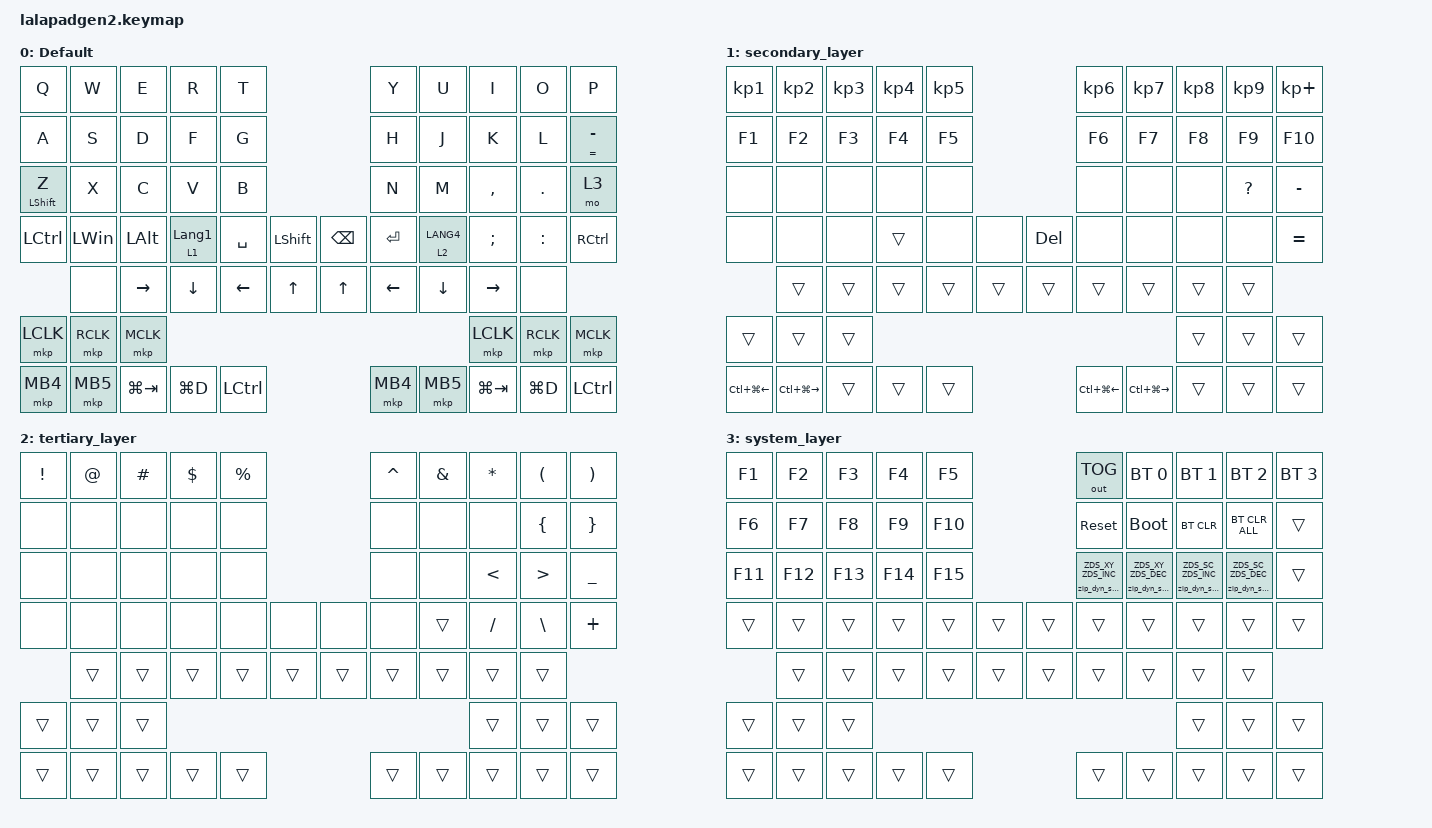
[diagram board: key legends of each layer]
#include <input/processors.dtsi>
#include <dt-bindings/zmk/zip_dynamic_scale.h>
#include <behaviors.dtsi>
#include <dt-bindings/zmk/bt.h>
#include <dt-bindings/zmk/keys.h>
#include <dt-bindings/zmk/outputs.h>
#include <dt-bindings/zmk/pointing.h>

#define DEFAULT_LAYER   0
#define SECONDARY_LAYER 1
#define TERTIARY_LAYER  2
#define SYSTEM_LAYER    3

&mt { quick-tap-ms = <200>; };

&lt { quick-tap-ms = <200>; };

/ {
    behaviors {
        zip_dyn_scale: zip_dyn_scale {
            compatible = "zmk,behavior-zip-dynamic-scale";
            #binding-cells = <2>;
        };

        zip_dyn_scale_set: zip_dyn_scale_set {
            compatible = "zmk,behavior-zip-dynamic-scale-set";
            #binding-cells = <2>;
        };

        mt2: mod_tap2 {
            compatible = "zmk,behavior-hold-tap";
            #binding-cells = <2>;
            flavor = "tap-preferred";
            tapping-term-ms = <200>;
            quick-tap-ms = <200>;
            require-prior-idle-ms = <125>;
            bindings = <&kp>, <&kp>;
        };

        tap_dance_layer_1and2: tap_dance_layer_1and2 {
            compatible = "zmk,behavior-tap-dance";
            label = "td_mo12";
            #binding-cells = <0>;
            bindings = <&mo 1>, <&mo 2>;
        };
    };

    combos {
        compatible = "zmk,combos";

        CONBO_ESC {
            bindings = <&kp ESCAPE>;
            key-positions = <0 1>;
        };

        COMBO_TAB {
            bindings = <&kp TAB>;
            key-positions = <10 11>;
        };
    };

    keymap {
        compatible = "zmk,keymap";

        DEFAULT_LAYER {
            display-name = "Default";
            bindings = <
&kp Q              &kp W      &kp E         &kp R             &kp T                                     &kp Y      &kp U        &kp I          &kp O       &kp P
&kp A              &kp S      &kp D         &kp F             &kp G                                     &kp H      &kp J        &kp K          &kp L       &mt2 EQUAL MINUS
&mt2 LEFT_SHIFT Z  &kp X      &kp C         &kp V             &kp B                                     &kp N      &kp M        &kp COMMA      &kp PERIOD  &mo 3
&kp LCTRL          &kp LWIN   &kp LEFT_ALT  &lt 1 LANGUAGE_1  &kp SPACE  &kp LEFT_SHIFT  &kp BACKSPACE  &kp ENTER  &lt 2 LANG4  &kp SEMICOLON  &kp COLON   &kp RIGHT_CONTROL
                   &none      &kp RIGHT     &kp DOWN          &kp LEFT   &kp UP          &kp UP         &kp LEFT   &kp DOWN     &kp RIGHT      &none
&mkp LCLK          &mkp RCLK  &mkp MCLK                                                                                         &mkp LCLK      &mkp RCLK   &mkp MCLK
&mkp MB4           &mkp MB5   &kp LG(TAB)   &kp LG(D)         &kp LCTRL                                 &mkp MB4   &mkp MB5     &kp LG(TAB)    &kp LG(D)   &kp LCTRL
            >;
        };

        SECONDARY_LAYER {
            display-name = "secondary_layer";
            bindings = <
&kp KP_NUMBER_1   &kp KP_NUMBER_2    &kp KP_NUMBER_3  &kp KP_NUMBER_4  &kp KP_NUMBER_5                   &kp KP_NUMBER_6   &kp KP_NUMBER_7    &kp KP_NUMBER_8  &kp KP_NUMBER_9  &kp KP_PLUS
&kp F1            &kp F2             &kp F3           &kp F4           &kp F5                            &kp F6            &kp F7             &kp F8           &kp F9           &kp F10
&none             &none              &none            &none            &none                             &none             &none              &none            &kp QUESTION     &kp MINUS
&none             &none              &none            &trans           &none            &none   &kp DEL  &none             &none              &none            &none            &kp EQUAL
                  &trans             &trans           &trans           &trans           &trans  &trans   &trans            &trans             &trans           &trans
&trans            &trans             &trans                                                                                                   &trans           &trans           &trans
&kp LC(LG(LEFT))  &kp LC(LG(RIGHT))  &trans           &trans           &trans                            &kp LC(LG(LEFT))  &kp LC(LG(RIGHT))  &trans           &trans           &trans
            >;
        };

        TERTIARY_LAYER {
            display-name = "tertiary_layer";
            bindings = <
&kp EXCLAMATION  &kp AT_SIGN  &kp HASH  &kp DOLLAR  &kp PERCENT                  &kp CARET  &kp AMPERSAND  &kp ASTERISK   &kp LEFT_PARENTHESIS  &kp RIGHT_PARENTHESIS
&none            &none        &none     &none       &none                        &none      &none          &none          &kp LEFT_BRACE        &kp RIGHT_BRACE
&none            &none        &none     &none       &none                        &none      &none          &kp LESS_THAN  &kp GREATER_THAN      &kp UNDERSCORE
&none            &none        &none     &none       &none        &none   &none   &none      &trans         &kp SLASH      &kp BACKSLASH         &kp PLUS
                 &trans       &trans    &trans      &trans       &trans  &trans  &trans     &trans         &trans         &trans
&trans           &trans       &trans                                                                       &trans         &trans                &trans
&trans           &trans       &trans    &trans      &trans                       &trans     &trans         &trans         &trans                &trans
            >;
        };

        SYSTEM_LAYER {
            display-name = "system_layer";
            bindings = <
&kp F1   &kp F2   &kp F3   &kp F4   &kp F5                   &out OUT_TOG                   &bt BT_SEL 0                   &bt BT_SEL 1                   &bt BT_SEL 2                   &bt BT_SEL 3
&kp F6   &kp F7   &kp F8   &kp F9   &kp F10                  &sys_reset                     &bootloader                    &bt BT_CLR                     &bt BT_CLR_ALL                 &trans
&kp F11  &kp F12  &kp F13  &kp F14  &kp F15                  &zip_dyn_scale ZDS_XY ZDS_INC  &zip_dyn_scale ZDS_XY ZDS_DEC  &zip_dyn_scale ZDS_SC ZDS_INC  &zip_dyn_scale ZDS_SC ZDS_DEC  &trans
&trans   &trans   &trans   &trans   &trans   &trans  &trans  &trans                         &trans                         &trans                         &trans                         &trans
         &trans   &trans   &trans   &trans   &trans  &trans  &trans                         &trans                         &trans                         &trans
&trans   &trans   &trans                                                                                                   &trans                         &trans                         &trans
&trans   &trans   &trans   &trans   &trans                   &trans                         &trans                         &trans                         &trans                         &trans
            >;
        };
    };

    conditional_layers {
        compatible = "zmk,conditional-layers";

        Cond_Syslayer {
            if-layers = <1 2>;
            then-layer = <3>;
        };
    };
};
